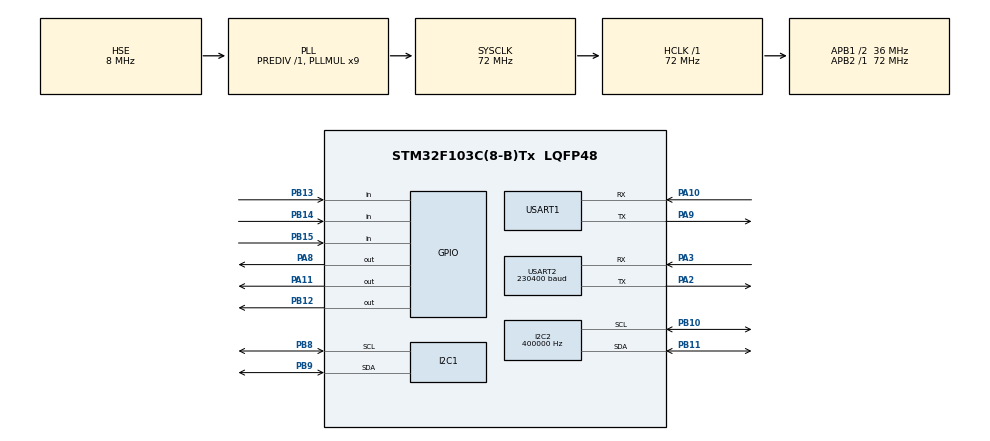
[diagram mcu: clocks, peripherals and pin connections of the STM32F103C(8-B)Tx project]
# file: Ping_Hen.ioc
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Dma.Request0=USART1_TX
Dma.Request1=USART1_RX
Dma.Request2=USART2_RX
Dma.Request3=USART2_TX
Dma.USART1_RX.1.Direction=DMA_PERIPH_TO_MEMORY
Dma.USART1_RX.1.Instance=DMA1_Channel5
Dma.USART1_RX.1.MemDataAlignment=DMA_MDATAALIGN_BYTE
Dma.USART1_RX.1.MemInc=DMA_MINC_ENABLE
Dma.USART1_RX.1.Mode=DMA_NORMAL
Dma.USART1_RX.1.PeriphDataAlignment=DMA_PDATAALIGN_BYTE
Dma.USART1_RX.1.PeriphInc=DMA_PINC_DISABLE
Dma.USART1_RX.1.Priority=DMA_PRIORITY_LOW
Dma.USART1_TX.0.Direction=DMA_MEMORY_TO_PERIPH
Dma.USART1_TX.0.Instance=DMA1_Channel4
Dma.USART1_TX.0.MemDataAlignment=DMA_MDATAALIGN_BYTE
Dma.USART1_TX.0.MemInc=DMA_MINC_ENABLE
Dma.USART1_TX.0.Mode=DMA_NORMAL
Dma.USART1_TX.0.PeriphDataAlignment=DMA_PDATAALIGN_BYTE
Dma.USART1_TX.0.PeriphInc=DMA_PINC_DISABLE
Dma.USART1_TX.0.Priority=DMA_PRIORITY_LOW
Dma.USART2_RX.2.Direction=DMA_PERIPH_TO_MEMORY
Dma.USART2_RX.2.Instance=DMA1_Channel6
Dma.USART2_RX.2.MemDataAlignment=DMA_MDATAALIGN_BYTE
Dma.USART2_RX.2.MemInc=DMA_MINC_ENABLE
Dma.USART2_RX.2.Mode=DMA_CIRCULAR
Dma.USART2_RX.2.PeriphDataAlignment=DMA_PDATAALIGN_BYTE
Dma.USART2_RX.2.PeriphInc=DMA_PINC_DISABLE
Dma.USART2_RX.2.Priority=DMA_PRIORITY_HIGH
Dma.USART2_TX.3.Direction=DMA_MEMORY_TO_PERIPH
Dma.USART2_TX.3.Instance=DMA1_Channel7
Dma.USART2_TX.3.MemDataAlignment=DMA_MDATAALIGN_BYTE
Dma.USART2_TX.3.MemInc=DMA_MINC_ENABLE
Dma.USART2_TX.3.Mode=DMA_NORMAL
Dma.USART2_TX.3.PeriphDataAlignment=DMA_PDATAALIGN_BYTE
Dma.USART2_TX.3.PeriphInc=DMA_PINC_DISABLE
Dma.USART2_TX.3.Priority=DMA_PRIORITY_LOW
I2C1.I2C_Mode=I2C_Fast
I2C2.ClockSpeed=400000
I2C2.I2C_Mode=I2C_Fast
Mcu.Family=STM32F1
Mcu.Name=STM32F103C(8-B)Tx
Mcu.Package=LQFP48
NVIC.DMA1_Channel4_IRQn=true\:0\:0\:false\:false\:true\:false\:true\:true
NVIC.DMA1_Channel5_IRQn=true\:0\:0\:false\:false\:true\:false\:true\:true
NVIC.DMA1_Channel6_IRQn=true\:0\:0\:false\:false\:true\:false\:true\:true
NVIC.DMA1_Channel7_IRQn=true\:0\:0\:false\:false\:true\:false\:true\:true
NVIC.I2C1_ER_IRQn=true\:1\:0\:true\:false\:true\:true\:true\:true
NVIC.I2C1_EV_IRQn=true\:1\:0\:true\:false\:true\:true\:true\:true
NVIC.PriorityGroup=NVIC_PRIORITYGROUP_4
NVIC.TIM1_UP_IRQn=true\:0\:0\:true\:false\:true\:true\:true\:true
NVIC.TIM2_IRQn=true\:2\:0\:true\:false\:true\:true\:true\:true
NVIC.TIM3_IRQn=true\:2\:0\:true\:false\:true\:true\:true\:true
NVIC.USART1_IRQn=true\:1\:0\:true\:false\:true\:true\:true\:true
NVIC.USART2_IRQn=true\:1\:0\:true\:false\:true\:true\:true\:true
PA10.Mode=Asynchronous
PA10.Signal=USART1_RX
PA11.GPIO_PuPd=GPIO_PULLUP
PA11.Signal=GPIO_Output
PA13.Mode=Serial_Wire
PA13.Signal=SYS_JTMS-SWDIO
PA14.Mode=Serial_Wire
PA14.Signal=SYS_JTCK-SWCLK
PA2.Mode=Asynchronous
PA2.Signal=USART2_TX
PA3.Mode=Asynchronous
PA3.Signal=USART2_RX
PA8.GPIO_PuPd=GPIO_PULLUP
PA8.Signal=GPIO_Output
PA9.Mode=Asynchronous
PA9.Signal=USART1_TX
PB10.Mode=I2C
PB10.Signal=I2C2_SCL
PB11.Mode=I2C
PB11.Signal=I2C2_SDA
PB12.GPIO_PuPd=GPIO_PULLUP
PB12.Signal=GPIO_Output
PB13.GPIO_PuPd=GPIO_PULLUP
PB13.Signal=GPIO_Input
PB14.GPIO_PuPd=GPIO_PULLUP
PB14.Signal=GPIO_Input
PB15.GPIO_PuPd=GPIO_PULLUP
PB15.Signal=GPIO_Input
PB8.Mode=I2C
PB8.Signal=I2C1_SCL
PB9.Mode=I2C
PB9.Signal=I2C1_SDA
PD0-OSC_IN.Mode=HSE-External-Oscillator
PD0-OSC_IN.Signal=RCC_OSC_IN
PD1-OSC_OUT.Mode=HSE-External-Oscillator
PD1-OSC_OUT.Signal=RCC_OSC_OUT
ProjectManager.HeapSize=0x200
ProjectManager.StackSize=0x400
ProjectManager.TargetToolchain=MDK-ARM V5.32
RCC.AHBFreq_Value=72000000
RCC.APB1CLKDivider=RCC_HCLK_DIV2
RCC.APB1Freq_Value=36000000
RCC.APB1TimFreq_Value=72000000
RCC.APB2Freq_Value=72000000
RCC.APB2TimFreq_Value=72000000
RCC.HCLKFreq_Value=72000000
RCC.PLLMUL=RCC_PLL_MUL9
RCC.PLLSourceVirtual=RCC_PLLSOURCE_HSE
RCC.SYSCLKFreq_VALUE=72000000
RCC.SYSCLKSource=RCC_SYSCLKSOURCE_PLLCLK
RCC.USBFreq_Value=72000000
TIM1.Period=99
TIM1.Prescaler=2399
TIM2.Period=99
TIM2.Prescaler=7199
TIM3.Period=999
TIM3.Prescaler=7199
USART1.VirtualMode=VM_ASYNC
USART2.BaudRate=230400
USART2.VirtualMode=VM_ASYNC
VP_TIM1_VS_ClockSourceINT.Mode=Internal
VP_TIM2_VS_ClockSourceINT.Mode=Internal
VP_TIM3_VS_ClockSourceINT.Mode=Internal
board=custom

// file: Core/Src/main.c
/* USER CODE BEGIN Header */
/**
  ******************************************************************************
  * @file           : main.c
  * @brief          : Main program body
  ******************************************************************************
  * @attention
  *
  * Copyright (c) 2026 STMicroelectronics.
  * All rights reserved.
  *
  * This software is licensed under terms that can be found in the LICENSE file
  * in the root directory of this software component.
  * If no LICENSE file comes with this software, it is provided AS-IS.
  *
  ******************************************************************************
  */
/* USER CODE END Header */
#include "main.h"
#include "dma.h"
#include "i2c.h"
#include "tim.h"
#include "usart.h"
#include "gpio.h"

/* USER CODE BEGIN Includes */
#include "ssd1306.h"
#include "ssd1306_fonts.h" // 包含字库
#include <stdio.h>         // 为了使用 sprintf 函数把数字转成字符串
#include "Printf_DMA.H"
#include "mpu6050.h"
#include "Emm_V5.h"
#include "BSP_Emm_V5.H"
#include "User_Task.H"
/* USER CODE END Includes */

void SystemClock_Config(void);

int main(void)
{

  /* MCU Configuration--------------------------------------------------------*/

  /* Reset of all peripherals, Initializes the Flash interface and the Systick. */
  HAL_Init();

  /* Configure the system clock */
  SystemClock_Config();

  /* Initialize all configured peripherals */
  MX_GPIO_Init();
  MX_DMA_Init();
  MX_I2C1_Init();
  MX_USART1_UART_Init();
  MX_I2C2_Init();
  MX_TIM1_Init();
  MX_TIM2_Init();
  MX_USART2_UART_Init();
  MX_TIM3_Init();
  /* USER CODE BEGIN 2 */
	User_Task_Init(); //初始化任务模块,包括陀螺仪模块和按键模块

	//#######初始化之后才可以开启中断#############
	HAL_TIM_Base_Start_IT(&htim1);	//定时器初始化
	HAL_TIM_Base_Start_IT(&htim2);	//定时器初始化
	HAL_TIM_Base_Start_IT(&htim3);	//定时器初始化

	//翻转电平表示初始化成功
	HAL_GPIO_TogglePin(GPIOB, GPIO_PIN_12);

  /* USER CODE END 2 */

  /* Infinite loop */
  /* USER CODE BEGIN WHILE */
	while (1)
	{
		User_Task_Param_Update();		//执行参数更新任务
		User_Task_OLED_Update();  	//执行OLED任务,用于更新OLED屏幕显示
    User_Task_UART_Update();  //执行串口任务,用于更新串口数据传输
		User_Task_key();  					//执行按键任务,按键任务目前包括,扫描三个按键,发送翻转对应LED灯以及电机位置模式正反转的功能
		HAL_Delay(1);
    /* USER CODE END WHILE */

  }
}

void SystemClock_Config(void)
{
  RCC_OscInitTypeDef RCC_OscInitStruct = {0};
  RCC_ClkInitTypeDef RCC_ClkInitStruct = {0};

  /** Initializes the RCC Oscillators according to the specified parameters
  * in the RCC_OscInitTypeDef structure.
  */
  RCC_OscInitStruct.OscillatorType = RCC_OSCILLATORTYPE_HSE;
  RCC_OscInitStruct.HSEState = RCC_HSE_ON;
  RCC_OscInitStruct.HSEPredivValue = RCC_HSE_PREDIV_DIV1;
  RCC_OscInitStruct.HSIState = RCC_HSI_ON;
  RCC_OscInitStruct.PLL.PLLState = RCC_PLL_ON;
  RCC_OscInitStruct.PLL.PLLSource = RCC_PLLSOURCE_HSE;
  RCC_OscInitStruct.PLL.PLLMUL = RCC_PLL_MUL9;
  if (HAL_RCC_OscConfig(&RCC_OscInitStruct) != HAL_OK)
  {
    Error_Handler();
  }

  /** Initializes the CPU, AHB and APB buses clocks
  */
  RCC_ClkInitStruct.ClockType = RCC_CLOCKTYPE_HCLK|RCC_CLOCKTYPE_SYSCLK
                              |RCC_CLOCKTYPE_PCLK1|RCC_CLOCKTYPE_PCLK2;
  RCC_ClkInitStruct.SYSCLKSource = RCC_SYSCLKSOURCE_PLLCLK;
  RCC_ClkInitStruct.AHBCLKDivider = RCC_SYSCLK_DIV1;
  RCC_ClkInitStruct.APB1CLKDivider = RCC_HCLK_DIV2;
  RCC_ClkInitStruct.APB2CLKDivider = RCC_HCLK_DIV1;

  if (HAL_RCC_ClockConfig(&RCC_ClkInitStruct, FLASH_LATENCY_2) != HAL_OK)
  {
    Error_Handler();
  }
}

/* USER CODE BEGIN 4 */
void HAL_TIM_PeriodElapsedCallback(TIM_HandleTypeDef *htim)
{
	//频率300hz
	if (htim->Instance == TIM1) {
//		User_Task_MPU6050_Update();	//执行陀螺仪任务,用于采样陀螺仪,一定要记得根据实际采样频率设置内部
	}

	//频率100hz,内环速度环
	if (htim->Instance == TIM2) {
			User_Task_Speed_Control();     // 在 BALL_CONTROL_SPEED_LOOP_HZ 对应的固定频率定时中断中调用。
	}

	//频率10hz,外环位置环
	if (htim->Instance == TIM3) {
			User_Task_Position_Control();  // 在 BALL_CONTROL_POSITION_LOOP_HZ 对应的固定频率定时中断中调用。
	}
}
/* USER CODE END 4 */

void Error_Handler(void)
{
  __disable_irq();
  while (1)
  {
  }
}
